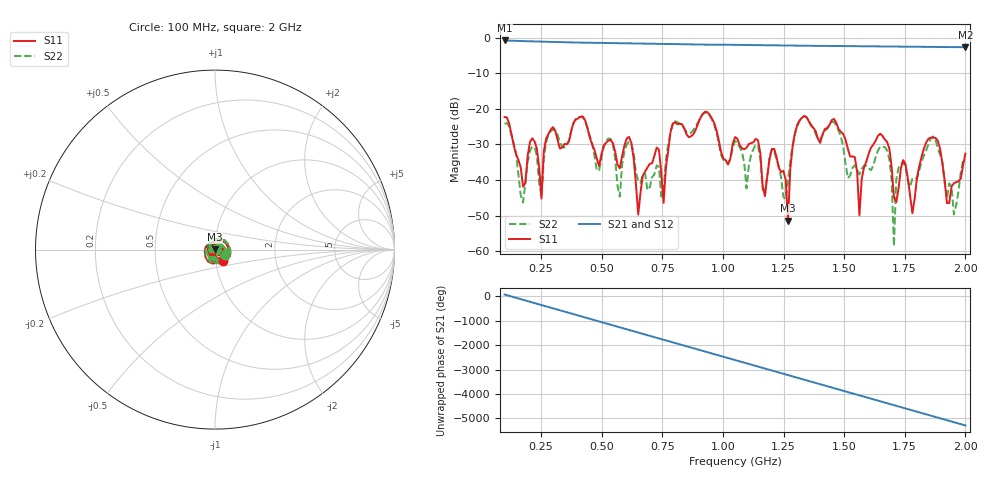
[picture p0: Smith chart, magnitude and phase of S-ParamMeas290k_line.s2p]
!Keysight Technologies,N5242B,MY48420967,A.15.65.19
!Date: Thursday, December 15, 2022 18:15:31
!Correction: S11(C  2-Port  )
!S21(C  2-Port  )
!S12(C  2-Port  )
!S22(C  2-Port  )
!S2P File: Measurements: S11, S21, S12, S22:
# Hz S  dB  R 50
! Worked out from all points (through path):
!   201 points, 100 MHz to 2 GHz, reference 50 ohm
!   highest |S21| = -0.73 dB at 100 MHz (marker M1); lowest = -2.6 dB at 2 GHz (marker M2)
!   group delay of S21, straight-line fit = 7.84 ns
!   lowest |S11| = -51.4 dB at 1.268 GHz (marker M3), VSWR 1.01, Z = 49.8 + j0.207 ohm
!   |S11| at or under -10 dB: start of sweep to end of sweep
!   |S22| runs from -58.6 to -21.0 dB; largest |S21 - S12| = 0.0012
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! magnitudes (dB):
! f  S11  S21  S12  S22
! 100 MHz  -22.3  -0.7  -0.7  -24.2
! 252 MHz  -45.2  -1.1  -1.1  -44.6
! 280.5 MHz  -27.1  -1.1  -1.1  -27.3
! 423 MHz  -22.2  -1.3  -1.4  -22.4
! 575 MHz  -36.7  -1.5  -1.5  -44.7
! 613 MHz  -27.9  -1.6  -1.6  -29.1
! 651 MHz  -49.7  -1.6  -1.6  -40.2
! 736.5 MHz  -31.5  -1.7  -1.7  -36.3
! 755.5 MHz  -46.4  -1.7  -1.7  -42.7
! 793.5 MHz  -24.1  -1.8  -1.8  -24.2
! 1.05 GHz  -27.9  -2.0  -2.0  -29.0
! 1.268 GHz  -51.4  -2.1  -2.2  -40.0
! 1.297 GHz  -26.8  -2.2  -2.2  -27.2
! 1.373 GHz  -25.3  -2.2  -2.2  -25.5
! 1.563 GHz  -49.9  -2.4  -2.4  -38.4
! 1.687 GHz  -31.2  -2.4  -2.5  -34.1
! 1.706 GHz  -44.9  -2.5  -2.5  -58.6
! 1.734 GHz  -36.7  -2.5  -2.5  -35.4
! 1.782 GHz  -49.3  -2.5  -2.5  -39.6
! 1.867 GHz  -28.1  -2.6  -2.6  -27.7
! 1.952 GHz  -40.9  -2.6  -2.6  -49.7
! 2 GHz  -32.6  -2.6  -2.7  -34.3
